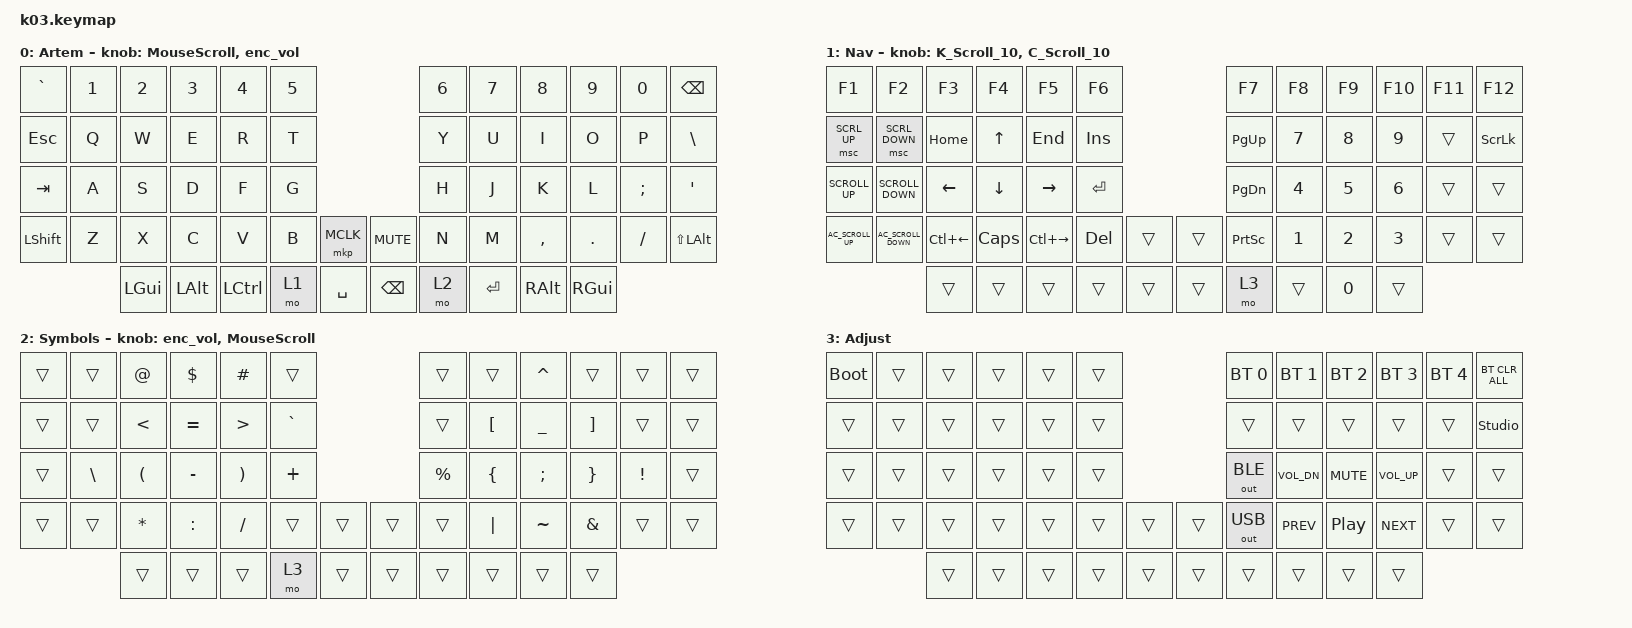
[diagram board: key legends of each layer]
#include "keys_ru.h"
#include <behaviors.dtsi>
#include <dt-bindings/zmk/bt.h>
#include <dt-bindings/zmk/keys.h>
#include <dt-bindings/zmk/outputs.h>
#include <dt-bindings/zmk/pointing.h>

&msc {
    time-to-max-speed-ms = <100>;
    acceleration-exponent = <1>;
};

/ {
    behaviors {
        enc_vol: enc_vol {
            compatible = "zmk,behavior-sensor-rotate";
            label = "ENC_VOL";
            #sensor-binding-cells = <0>;
            bindings = <&kp C_VOL_UP>, <&kp C_VOL_DN>;
        };

        MouseScroll: MouseScroll {
            compatible = "zmk,behavior-sensor-rotate";
            #sensor-binding-cells = <0>;
            bindings = <&msc SCRL_DOWN>, <&msc SCRL_UP>;

            label = "MOUSESCROLL";
        };

        K_Scroll_10: K_Scroll_10 {
            compatible = "zmk,behavior-sensor-rotate";
            #sensor-binding-cells = <0>;
            bindings = <&kp K_SCROLL_UP>, <&kp K_SCROLL_DOWN>;

            label = "K_SCROLL_10";
            tap-ms = <10>;
        };

        C_Scroll_10: C_Scroll_10 {
            compatible = "zmk,behavior-sensor-rotate";
            #sensor-binding-cells = <0>;
            bindings = <&kp C_AC_SCROLL_UP>, <&kp C_AC_SCROLL_DOWN>;

            label = "C_SCROLL_10";
            tap-ms = <10>;
        };
    };

    keymap {
        compatible = "zmk,keymap";

        base {
            bindings = <
&kp GRAVE  &kp N1  &kp N2    &kp N3    &kp N4     &kp N5                              &kp N6  &kp N7     &kp N8     &kp N9    &kp N0    &kp BSPC
&kp ESC    &kp Q   &kp W     &kp E     &kp R      &kp T                               &kp Y   &kp U      &kp I      &kp O     &kp P     &kp BSLH
&kp TAB    &kp A   &kp S     &kp D     &kp F      &kp G                               &kp H   &kp J      &kp K      &kp L     &kp SEMI  &kp SQT
&kp LSHFT  &kp Z   &kp X     &kp C     &kp V      &kp B   &mkp MCLK    &kp C_MUTE     &kp N   &kp M      &kp COMMA  &kp DOT   &kp FSLH  &kp LS(LEFT_ALT)
                   &kp LGUI  &kp LALT  &kp LCTRL  &mo 1   &kp SPACE    &kp BACKSPACE  &mo 2   &kp ENTER  &kp RALT   &kp RGUI
            >;

            display-name = "Artem";
            sensor-bindings = <&MouseScroll>, <&enc_vol>;
        };

        nav {
            bindings = <
&kp F1              &kp F2                &kp F3        &kp F4    &kp F5         &kp F6                     &kp F7           &kp F8  &kp F9  &kp F10  &kp F11  &kp F12
&msc SCRL_UP        &msc SCRL_DOWN        &kp HOME      &kp UP    &kp END        &kp INS                    &kp PG_UP        &kp N7  &kp N8  &kp N9   &trans   &kp SCROLLLOCK
&kp K_SCROLL_UP     &kp K_SCROLL_DOWN     &kp LEFT      &kp DOWN  &kp RIGHT      &kp RET                    &kp PG_DN        &kp N4  &kp N5  &kp N6   &trans   &trans
&kp C_AC_SCROLL_UP  &kp C_AC_SCROLL_DOWN  &kp LC(LEFT)  &kp CAPS  &kp LC(RIGHT)  &kp DEL  &trans    &trans  &kp PRINTSCREEN  &kp N1  &kp N2  &kp N3   &trans   &trans
                                          &trans        &trans    &trans         &trans   &trans    &trans  &mo 3            &trans  &kp N0  &trans
            >;

            display-name = "Nav";
            sensor-bindings = <&K_Scroll_10>, <&C_Scroll_10>;
        };

        sym {
            bindings = <
&trans  &trans    &kp AT    &kp DLLR   &kp HASH  &trans                       &trans     &trans    &kp CARET  &trans    &trans    &trans
&trans  &trans    &kp LT    &kp EQUAL  &kp GT    &kp GRAVE                    &trans     &kp LBKT  &kp UNDER  &kp RBKT  &trans    &trans
&trans  &kp BSLH  &kp LPAR  &kp MINUS  &kp RPAR  &kp PLUS                     &kp PRCNT  &kp LBRC  &kp SEMI   &kp RBRC  &kp EXCL  &trans
&trans  &trans    &kp STAR  &kp COLON  &kp FSLH  &trans     &trans    &trans  &trans     &kp PIPE  &kp TILDE  &kp AMPS  &trans    &trans
                  &trans    &trans     &trans    &mo 3      &trans    &trans  &trans     &trans    &trans     &trans
            >;

            display-name = "Symbols";
            sensor-bindings = <&enc_vol>, <&MouseScroll>;
        };

        adj {
            bindings = <
&bootloader  &trans  &trans  &trans  &trans  &trans                    &bt BT_SEL 0  &bt BT_SEL 1  &bt BT_SEL 2      &bt BT_SEL 3  &bt BT_SEL 4  &bt BT_CLR_ALL
&trans       &trans  &trans  &trans  &trans  &trans                    &trans        &trans        &trans            &trans        &trans        &studio_unlock
&trans       &trans  &trans  &trans  &trans  &trans                    &out OUT_BLE  &kp C_VOL_DN  &kp C_MUTE        &kp C_VOL_UP  &trans        &trans
&trans       &trans  &trans  &trans  &trans  &trans  &trans    &trans  &out OUT_USB  &kp C_PREV    &kp C_PLAY_PAUSE  &kp C_NEXT    &trans        &trans
                     &trans  &trans  &trans  &trans  &trans    &trans  &trans        &trans        &trans            &trans
            >;

            display-name = "Adjust";
        };
    };
};
